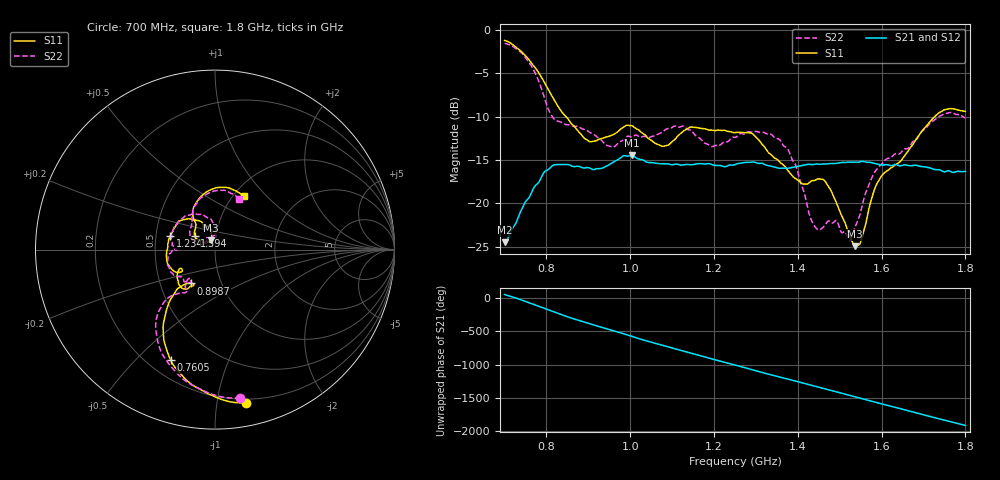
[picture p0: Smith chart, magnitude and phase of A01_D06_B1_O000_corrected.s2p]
! Created with skrf 1.9.0 (http://scikit-rf.org).
# Hz S RI R 50.0
!freq ReS11 ImS11 ReS21 ImS21 ReS12 ImS12 ReS22 ImS22
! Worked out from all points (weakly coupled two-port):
!   1601 points, 700 MHz to 1.8 GHz, reference 50 ohm
!   highest |S21| = -14.48 dB at 1.003 GHz (marker M1); lowest = -24.5 dB at 700 MHz (marker M2)
!   lowest |S11| = -25.0 dB at 1.536 GHz (marker M3), VSWR 1.12, Z = 47.4 + j4.84 ohm
!   |S11| at or under -10 dB: 846.8 MHz to 1.726 GHz (879.6 MHz wide, 68.4 % of centre)
!   |S22| runs from -24.3 to -1.5 dB; largest |S21 - S12| = 0.0034
!   S11 on the Smith chart (normalised r, x): 700 MHz: 0.17, -1.21; 760.5 MHz: 0.29, -0.64; 898.7 MHz: 0.72, -0.29; 1.234 GHz: 0.60, +0.10; 1.594 GHz: 0.79, +0.12; 1.8 GHz: 1.12, +0.75
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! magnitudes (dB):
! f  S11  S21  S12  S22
! 700 MHz  -1.2  -24.5  -24.3  -1.5
! 760.5 MHz  -3.6  -19.2  -19.0  -3.9
! 816.2 MHz  -7.9  -15.6  -15.7  -10.2
! 883.6 MHz  -12.1  -15.9  -15.8  -11.4
! 898.7 MHz  -12.8  -15.9  -15.9  -11.7
! 955.8 MHz  -12.1  -15.4  -15.4  -13.5
! 1.003 GHz  -11.0  -14.5  -14.6  -12.3
! 1.067 GHz  -13.2  -15.4  -15.4  -12.0
! 1.145 GHz  -11.2  -15.6  -15.6  -11.6
! 1.234 GHz  -11.7  -15.6  -15.7  -12.8
! 1.25 GHz  -11.8  -15.5  -15.5  -12.4
! 1.357 GHz  -15.2  -16.0  -15.9  -12.7
! 1.395 GHz  -17.2  -15.8  -15.8  -15.6
! 1.434 GHz  -17.4  -15.5  -15.5  -22.1
! 1.469 GHz  -17.7  -15.5  -15.4  -22.3
! 1.524 GHz  -23.8  -15.2  -15.2  -24.3
! 1.536 GHz  -25.0  -15.2  -15.3  -22.8
! 1.55 GHz  -24.4  -15.2  -15.2  -20.9
! 1.594 GHz  -17.3  -15.5  -15.5  -15.8
! 1.617 GHz  -16.1  -15.6  -15.6  -14.8
! 1.735 GHz  -9.6  -16.1  -16.2  -10.0
! 1.8 GHz  -9.4  -16.3  -16.3  -10.1
